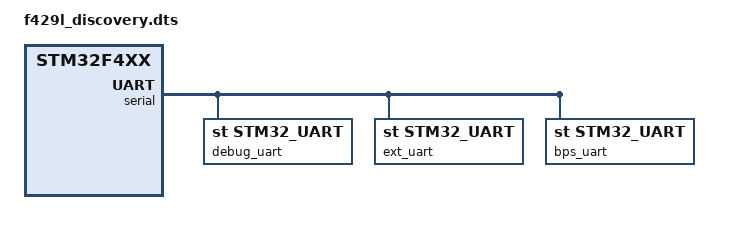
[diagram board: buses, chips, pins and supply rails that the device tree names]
/dts-v1/;

#define STM32F429_439xx

#include "stm32f4xx.dtsi"
#include "stm32f4xx.h"
#include "stm32f4xx_gpio.h"

/ {

	leds: leds {
		compatible = "st,stm32_leds";
		pins = <&led_pins>;
	};

	serial {
		debug_uart: debug {
			compatible = "st,stm32_uart";
			baud = <115200>;
			reg = <USART1>;
			interrupt = <USART1_IRQn>;
		};

		ext_uart: ext {
			compatible = "st,stm32_uart";
			baud = <100000>;
			reg = <UART4>;
			interrupt = <UART4_IRQn>;
		};

		bps_uart: bps {
			compatible = "st,stm32_uart";
			baud = <57600>;
			reg = <USART3>;
			interrupt = <USART3_IRQn>;
		};
	};

	usb_serial {
		compatible = "st,usb-serial";
	};

	gpio {
		compatible = "st,stm32_gpio";
		debug_serial_pins {
			pinctrl = <
				GPIOB GPIO_Pin_6 (GPIO_AF_USART1 | GPIO_OType_PP | GPIO_PuPd_UP | GPIO_Speed_50MHz) /* TX */
				GPIOB GPIO_Pin_7 (GPIO_AF_USART1 | GPIO_OType_PP | GPIO_PuPd_UP | GPIO_Speed_50MHz) /* RX */
			>;
		};

		ext_serial_pins {
			pinctrl = <
				GPIOC GPIO_Pin_10 (GPIO_AF_UART4 | GPIO_PuPd_UP) /* TX */
				GPIOC GPIO_Pin_11 (GPIO_AF_UART4 | GPIO_PuPd_UP) /* RX */
			>;
		};
/*
		usb_pins {
			pinctrl = <
				GPIOA GPIO_Pin_11 (GPIO_AF_OTG_FS | GPIO_OType_PP | GPIO_Speed_50MHz)
				GPIOA GPIO_Pin_12 (GPIO_AF_OTG_FS | GPIO_OType_PP | GPIO_Speed_50MHz)
			>;
		};
*/
		led_pins: led_pins {
			pinctrl = <
				GPIOG GPIO_Pin_13 GPIO_Mode_OUT
				GPIOG GPIO_Pin_14 GPIO_Mode_OUT
			>;
		};
	};
};
